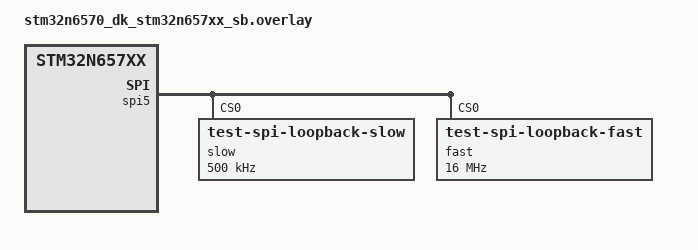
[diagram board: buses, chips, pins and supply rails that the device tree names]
/*
 * Copyright (c) 2025 STMicroelectronics
 *
 * SPDX-License-Identifier: Apache-2.0
 */

tst_dma0: &gpdma1 {
	status = "okay";
};

&spi5 {
	dmas = <&gpdma1 0 88 STM32_DMA_PERIPH_TX>,
	       <&gpdma1 1 87 STM32_DMA_PERIPH_RX>;
	dma-names = "tx", "rx";
	fifo-enable;
	slow@0 {
		compatible = "test-spi-loopback-slow";
		reg = <0>;
		spi-max-frequency = <500000>;
	};
	fast@0 {
		compatible = "test-spi-loopback-fast";
		reg = <0>;
		spi-max-frequency = <16000000>;
	};
};

&gpdma1 {
	status = "okay";
};

dut: &usart2 {
	dmas = <&gpdma1 0 110 STM32_DMA_PERIPH_TX>,
	       <&gpdma1 1 109 STM32_DMA_PERIPH_RX>;
	dma-names = "tx", "rx";
};
